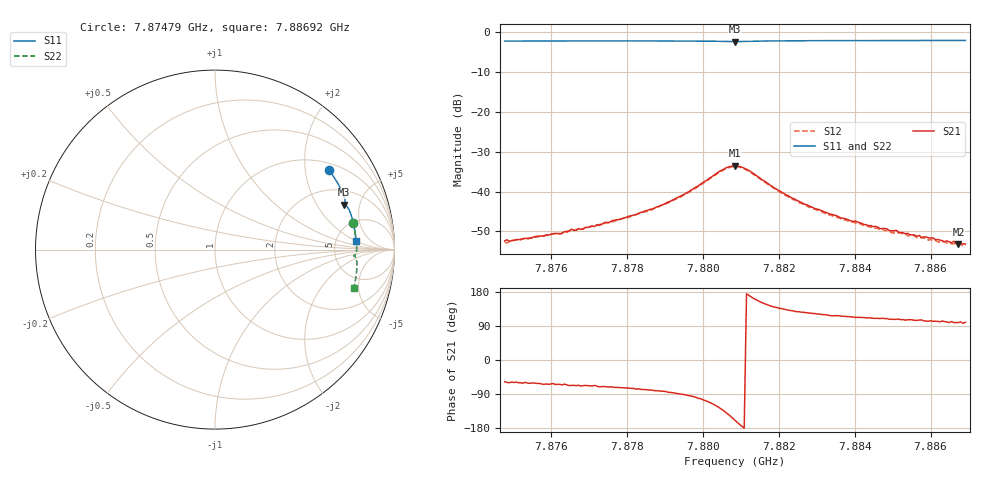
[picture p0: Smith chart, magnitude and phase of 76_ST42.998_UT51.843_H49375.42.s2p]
#  HZ  S  DB  R  50.00
! Rohde & Schwarz Vector Network Analyzer
! Rohde-Schwarz,ZNB20-2Port,1311601062101988,3.16
! Created: UTC 1/12/2023, 6:34:50 PM
! freq[Hz]  db:S11  ang:S11  db:S21  ang:S21  db:S12  ang:S12  db:S22  ang:S22
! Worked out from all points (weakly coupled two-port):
!   201 points, 7.87479 GHz to 7.88692 GHz, reference 50 ohm
!   highest |S21| = -33.51 dB at 7.88085 GHz (marker M1); lowest = -53.2 dB at 7.88673 GHz (marker M2)
!   lowest |S11| = -2.4 dB at 7.88085 GHz (marker M3), VSWR 7.43, Z = 149 + j178 ohm
!   |S11| at or under -10 dB: nowhere
!   |S22| runs from -2.2 to -1.9 dB; largest |S21 - S12| = 0.0014
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7.874786e9  -2.23 35.1  -52.36 -57.4  -52.65 -62.2  -2.14 11.1
7.876242e9  -2.20 31.2  -50.62 -64.2  -50.58 -66.4  -2.10 7.6
7.876545e9  -2.20 30.3  -49.42 -67.2  -49.93 -66.8  -2.10 6.9
7.876848e9  -2.20 29.5  -49.38 -67.7  -49.46 -70.3  -2.09 6.2
7.87697e9  -2.19 29.2  -49.01 -67.9  -48.77 -70.7  -2.08 6.0
7.878061e9  -2.18 26.2  -46.14 -74.2  -46.47 -78.5  -2.06 3.4
7.87885e9  -2.18 24.0  -43.72 -81.6  -43.77 -85.6  -2.05 1.5
7.879578e9  -2.19 21.9  -40.29 -92.8  -40.49 -96.1  -2.06 -0.3
7.880548e9  -2.32 19.3  -34.42 -133.4  -34.56 -136.7  -2.18 -2.5
7.880851e9  -2.35 19.1  -33.51 -159.2  -33.74 -162.7  -2.23 -2.6
7.881155e9  -2.31 18.9  -34.41 174.8  -34.58 171.5  -2.19 -2.6
7.882125e9  -2.16 16.4  -40.38 134.6  -40.68 130.9  -2.03 -4.7
7.882914e9  -2.13 14.2  -44.05 122.7  -44.34 118.6  -1.98 -6.5
7.883823e9  -2.11 11.7  -47.03 114.4  -47.39 110.9  -1.96 -8.6
7.884915e9  -2.10 8.8  -49.78 107.5  -49.90 105.3  -1.94 -11.1
7.885097e9  -2.09 8.3  -49.72 107.2  -50.47 104.6  -1.93 -11.5
7.885764e9  -2.09 6.6  -51.55 105.8  -51.54 100.7  -1.93 -13.0
7.886371e9  -2.08 5.0  -52.54 101.5  -52.59 96.4  -1.93 -14.2
7.886613e9  -2.08 4.4  -52.46 98.6  -53.09 98.7  -1.93 -14.7
7.886735e9  -2.08 4.0  -53.16 98.9  -53.22 98.6  -1.92 -15.0
7.886856e9  -2.08 3.8  -53.14 96.9  -53.69 96.1  -1.92 -15.3
7.886917e9  -2.07 3.6  -53.12 99.4  -53.40 98.0  -1.92 -15.4
